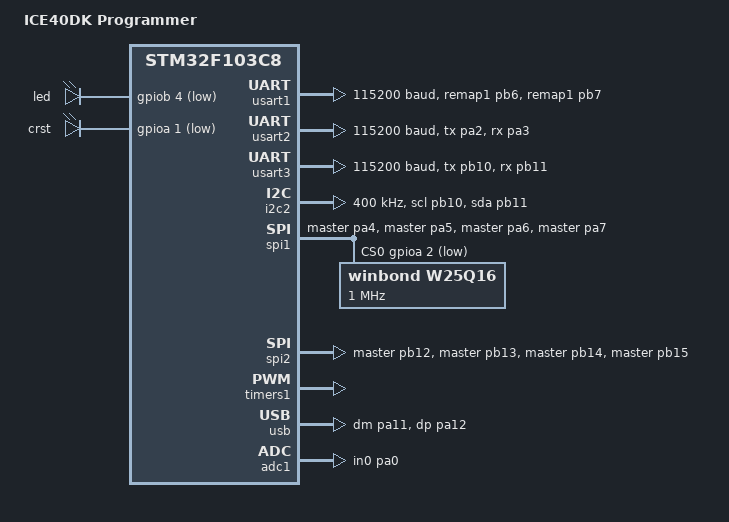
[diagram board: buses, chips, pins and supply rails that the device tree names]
/dts-v1/;
#include <st/f1/stm32f103X8.dtsi>
#include <st/f1/stm32f103c(8-b)tx-pinctrl.dtsi>

/ {
	model = "ICE40DK Programmer";
	compatible = "st,stm32f103c8";

	chosen {
		zephyr,console = &usart1;
		zephyr,shell-uart = &usart1;
		zephyr,osdp-uart = &usart2;
		zephyr,sram = &sram0;
		zephyr,flash = &flash0;
	};

	leds {
		compatible = "gpio-leds";

		led: led {
			gpios = <&gpiob 4 GPIO_ACTIVE_LOW>;
		};

		crst: crst {
			gpios = <&gpioa 1 GPIO_ACTIVE_LOW>;
		};
	};

	aliases {
		led0 = &led;
	};
};

&clk_hse {
	clock-frequency = <DT_FREQ_M(12)>;
    	status = "disabled";
};

&clk_hsi {
    	status = "okay";
};

&clk_lsi {
	status = "okay";
};

&pll {
    mul = <1>;
    clocks = <&clk_hsi>;
    status = "okay";
};

&rcc {
	clocks = <&pll>;
	clock-frequency = <DT_FREQ_M(8)>;
	ahb-prescaler = <1>;
	apb1-prescaler = <1>;
	apb2-prescaler = <1>;
	/* usbpre not set: USB clock = 72 / 1.5: 48MHz */
};


&usart1 {
	pinctrl-0 = <&usart1_tx_remap1_pb6 &usart1_rx_remap1_pb7>;
	current-speed = <115200>;
	pinctrl-names = "default";
	status = "okay";
};

&usart2 {
	pinctrl-0 = <&usart2_tx_pa2 &usart2_rx_pa3>;
	current-speed = <115200>;
	pinctrl-names = "default";
	status = "okay";
};

&usart3 {
	pinctrl-0 = <&usart3_tx_pb10 &usart3_rx_pb11>;
	current-speed = <115200>;
	pinctrl-names = "default";
	status = "okay";
};


&i2c2 {
	pinctrl-0 = <&i2c2_scl_pb10 &i2c2_sda_pb11>;
	pinctrl-names = "default";
	status = "okay";
	clock-frequency = <I2C_BITRATE_FAST>;
};

&spi1 {
	pinctrl-0 = <&spi1_nss_master_pa4 &spi1_sck_master_pa5
		     &spi1_miso_master_pa6 &spi1_mosi_master_pa7>;

	pinctrl-names = "default";
	status = "okay";

	cs-gpios = <&gpioa 2 GPIO_ACTIVE_LOW>;

	w25q16: spi-nor-flash@0 {
		compatible = "winbond,w25q16";
		reg = <0>;
		spi-max-frequency = <1000000>;
		status = "okay";
	};

};

&spi2 {
	pinctrl-0 = <&spi2_nss_master_pb12 &spi2_sck_master_pb13
		     &spi2_miso_master_pb14 &spi2_mosi_master_pb15>;
	pinctrl-names = "default";
	status = "okay";
};

&timers1 {
	status = "okay";

	pwm1: pwm {
		status = "okay";
		pinctrl-0 = <&tim1_ch1_pwm_out_pa8>;
		pinctrl-names = "default";
	};
};

zephyr_udc0: &usb {
	pinctrl-0 = <&usb_dm_pa11 &usb_dp_pa12>;
	pinctrl-names = "default";
	status = "okay";
};

&adc1 {
	pinctrl-0 = <&adc1_in0_pa0>;
	pinctrl-names = "default";
	status = "okay";
};
